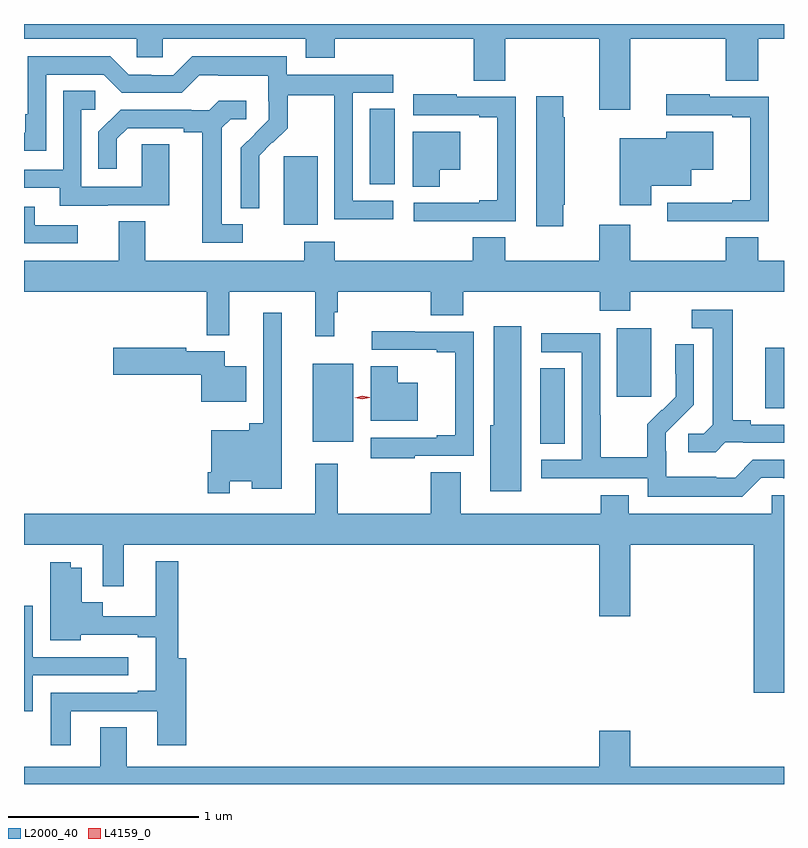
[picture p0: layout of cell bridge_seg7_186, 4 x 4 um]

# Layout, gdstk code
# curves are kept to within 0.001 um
import gdstk
lib = gdstk.Library(unit=1e-6, precision=1e-09)
def R(c, l, rs):  # rectangles x0, y0, x1, y1
    for r in rs: c.add(gdstk.rectangle(r[:2], r[2:], *l))
def P(c, l, *ps):  # polygons
    for p in ps: c.add(gdstk.Polygon(p, *l))
L2000_40 = (2000, 40)
L4159_0 = (4159, 0)

bridge_seg7_186 = lib.new_cell('bridge_seg7_186')
R(bridge_seg7_186, L2000_40, [(464.396,1010.473,464.527,1010.87), (463.199,1010.483,463.414,1010.893), (465.581,1010.659,465.68,1010.979), (464.801,1010.721,464.98,1011.082), (463.046,1011.626,463.225,1011.987), (463.499,1011.838,463.63,1012.235)])
P(bridge_seg7_186, L2000_40, [(464.872,1012.604),(465.374,1012.604),(465.374,1012.384),(465.545,1012.384),(465.545,1012.604),(465.68,1012.604),(465.68,1012.682),(461.68,1012.682),(461.68,1012.604),(462.273,1012.604),(462.273,1012.506),(462.411,1012.506),(462.411,1012.604),(463.163,1012.604),(463.163,1012.505),(463.316,1012.505),(463.316,1012.604),(464.047,1012.604),(464.047,1012.384),(464.213,1012.384),(464.213,1012.604),(464.708,1012.604),(464.708,1012.23),(464.872,1012.23)],
  [(463.624,1011.753),(463.41,1011.753),(463.41,1012.32),(463.624,1012.32),(463.624,1012.416),(463.062,1012.416),(463.062,1012.513),(462.565,1012.513),(462.465,1012.413),(462.35,1012.413),(462.35,1012.416),(462.231,1012.416),(462.135,1012.512),(461.7,1012.512),(461.7,1012.207),(461.687,1012.207),(461.687,1012.11),(461.68,1012.11),(461.68,1012.014),(461.796,1012.014),(461.796,1012.416),(462.099,1012.416),(462.195,1012.32),(462.51,1012.32),(462.603,1012.413),(462.703,1012.413),(462.703,1012.409),(462.966,1012.409),(462.966,1012.275),(462.968,1012.275),(462.968,1012.178),(462.822,1012.03),(462.822,1011.712),(462.918,1011.712),(462.917,1011.989),(462.987,1012.059),(462.99,1012.056),(463.067,1012.133),(463.067,1012.308),(463.312,1012.308),(463.312,1012.084),(463.314,1012.084),(463.314,1011.655),(463.624,1011.655)],
  [(462.121,1011.729),(462.445,1011.729),(462.445,1012.049),(462.3,1012.049),(462.3,1011.825),(461.982,1011.825),(461.982,1012.23),(462.055,1012.23),(462.055,1012.331),(461.886,1012.331),(461.886,1011.915),(461.68,1011.915),(461.68,1011.819),(461.867,1011.819),(461.867,1011.725),(462.121,1011.725)],
  [(465.29,1011.645),(465.6,1011.645),(465.6,1012.299),(465.29,1012.299),(465.29,1012.312),(465.06,1012.312),(465.06,1012.203),(465.407,1012.203),(465.407,1012.191),(465.503,1012.191),(465.503,1011.754),(465.407,1011.754),(465.407,1011.741),(465.065,1011.741),(465.065,1011.644),(465.29,1011.644)],
  [(463.958,1011.645),(464.268,1011.645),(464.268,1012.299),(463.958,1012.299),(463.958,1012.312),(463.728,1012.312),(463.728,1012.203),(464.075,1012.203),(464.075,1012.191),(464.171,1012.191),(464.171,1011.754),(464.075,1011.754),(464.075,1011.741),(463.731,1011.741),(463.731,1011.644),(463.958,1011.644)],
  [(464.518,1011.73),(464.526,1011.73),(464.526,1012.19),(464.518,1012.19),(464.518,1012.303),(464.375,1012.303),(464.375,1011.618),(464.518,1011.618)],
  [(462.832,1011.627),(462.721,1011.627),(462.721,1012.135),(462.768,1012.182),(462.85,1012.182),(462.85,1012.279),(462.706,1012.279),(462.654,1012.227),(462.56,1012.227),(462.56,1012.23),(462.188,1012.23),(462.072,1012.114),(462.072,1011.921),(462.169,1011.921),(462.169,1012.077),(462.226,1012.134),(462.521,1012.134),(462.521,1012.112),(462.617,1012.112),(462.617,1011.531),(462.832,1011.531)],
  [(464.98,1011.83),(465.193,1011.83),(465.193,1011.914),(465.307,1011.914),(465.307,1012.114),(465.059,1012.114),(465.059,1012.081),(464.815,1012.081),(464.815,1011.729),(464.98,1011.729)],
  [(463.869,1011.914),(463.975,1011.914),(463.975,1012.114),(463.727,1012.114),(463.727,1011.826),(463.869,1011.826)],
  [(461.962,1011.624),(461.737,1011.624),(461.737,1011.72),(461.68,1011.72),(461.68,1011.528),(461.962,1011.528)],
  [(463.313,1011.164),(463.331,1011.164),(463.331,1011.272),(463.82,1011.272),(463.82,1011.148),(463.991,1011.148),(463.991,1011.272),(464.711,1011.272),(464.711,1011.173),(464.871,1011.173),(464.871,1011.272),(465.68,1011.272),(465.68,1011.436),(465.545,1011.436),(465.545,1011.56),(465.374,1011.56),(465.374,1011.436),(464.872,1011.436),(464.872,1011.625),(464.708,1011.625),(464.708,1011.436),(464.213,1011.436),(464.213,1011.56),(464.042,1011.56),(464.042,1011.436),(463.316,1011.436),(463.316,1011.535),(463.156,1011.535),(463.156,1011.436),(462.319,1011.436),(462.319,1011.644),(462.179,1011.644),(462.179,1011.436),(461.68,1011.436),(461.68,1011.272),(462.643,1011.272),(462.643,1011.044),(462.761,1011.044),(462.761,1011.272),(463.214,1011.272),(463.214,1011.039),(463.313,1011.039)],
  [(465.372,1010.481),(465.466,1010.481),(465.466,1010.478),(465.68,1010.478),(465.68,1010.574),(465.505,1010.574),(465.505,1010.597),(465.409,1010.597),(465.409,1011.177),(465.195,1011.177),(465.195,1011.081),(465.305,1011.081),(465.305,1010.573),(465.258,1010.526),(465.177,1010.526),(465.177,1010.429),(465.32,1010.429)],
  [(462.762,1010.276),(462.878,1010.276),(462.878,1010.237),(463.036,1010.237),(463.036,1011.163),(462.939,1011.163),(462.939,1010.581),(462.866,1010.581),(462.866,1010.545),(462.666,1010.545),(462.666,1010.323),(462.646,1010.323),(462.646,1010.211),(462.762,1010.211)],
  [(464.296,1011.091),(464.153,1011.091),(464.153,1010.571),(464.135,1010.571),(464.135,1010.223),(464.296,1010.223)],
  [(463.736,1010.409),(464.046,1010.409),(464.046,1011.063),(463.736,1011.063),(463.736,1011.065),(463.509,1011.065),(463.509,1010.967),(463.853,1010.967),(463.853,1010.955),(463.949,1010.955),(463.949,1010.518),(463.853,1010.518),(463.853,1010.505),(463.506,1010.505),(463.506,1010.397),(463.736,1010.397)],
  [(465.561,1010.295),(465.677,1010.295),(465.677,1010.292),(465.68,1010.292),(465.68,1010.388),(465.516,1010.388),(465.423,1010.295),(465.323,1010.295),(465.323,1010.299),(465.06,1010.299),(465.06,1010.433),(465.058,1010.433),(465.058,1010.53),(465.204,1010.678),(465.204,1010.996),(465.108,1010.996),(465.108,1010.842),(465.11,1010.842),(465.11,1010.72),(465.039,1010.649),(465.036,1010.652),(464.959,1010.575),(464.959,1010.401),(464.715,1010.401),(464.715,1010.624),(464.712,1010.624),(464.712,1011.054),(464.403,1011.054),(464.403,1010.955),(464.616,1010.955),(464.616,1010.388),(464.403,1010.388),(464.403,1010.292),(464.964,1010.292),(464.964,1010.195),(465.461,1010.195)],
  [(462.85,1010.881),(462.736,1010.881),(462.736,1010.959),(462.534,1010.959),(462.534,1010.979),(462.15,1010.979),(462.15,1010.837),(462.614,1010.837),(462.614,1010.693),(462.85,1010.693)],
  [(463.753,1010.794),(463.647,1010.794),(463.647,1010.882),(463.505,1010.882),(463.505,1010.594),(463.753,1010.594)],
  [(465.68,1010.202),(465.615,1010.202),(465.615,1010.104),(464.863,1010.104),(464.863,1010.203),(464.716,1010.203),(464.716,1010.104),(463.978,1010.104),(463.978,1010.324),(463.82,1010.324),(463.82,1010.104),(463.331,1010.104),(463.331,1010.368),(463.214,1010.368),(463.214,1010.104),(461.68,1010.104),(461.68,1009.94),(462.095,1009.94),(462.095,1009.722),(462.205,1009.722),(462.205,1009.94),(464.708,1009.94),(464.708,1009.566),(464.872,1009.566),(464.872,1009.94),(465.521,1009.94),(465.521,1009.161),(465.68,1009.161)],
  [(461.926,1009.065),(462.38,1009.065),(462.38,1008.885),(462.533,1008.885),(462.533,1009.345),(462.493,1009.345),(462.493,1009.855),(462.374,1009.855),(462.374,1009.564),(462.094,1009.564),(462.094,1009.639),(461.983,1009.639),(461.983,1009.819),(461.926,1009.819),(461.926,1009.849),(461.819,1009.849),(461.819,1009.439),(461.979,1009.439),(461.979,1009.467),(462.278,1009.467),(462.278,1009.455),(462.374,1009.455),(462.374,1009.174),(462.278,1009.174),(462.278,1009.161),(461.822,1009.161),(461.822,1008.885),(461.926,1008.885)],
  [(461.727,1009.254),(462.229,1009.254),(462.229,1009.35),(461.727,1009.35),(461.727,1009.62),(461.68,1009.62),(461.68,1009.065),(461.727,1009.065)],
  [(465.68,1008.772),(464.872,1008.772),(464.872,1008.961),(464.708,1008.961),(464.708,1008.772),(462.22,1008.772),(462.22,1008.98),(462.08,1008.98),(462.08,1008.772),(461.68,1008.772),(461.68,1008.682),(465.68,1008.682)])
P(bridge_seg7_186, L4159_0, [(463.46,1010.706),(463.42,1010.716),(463.42,1010.716),(463.42,1010.716),(463.46,1010.726),(463.499,1010.717),(463.5,1010.716),(463.499,1010.716)])

lib.write_gds('bridge_seg7_186.gds')
